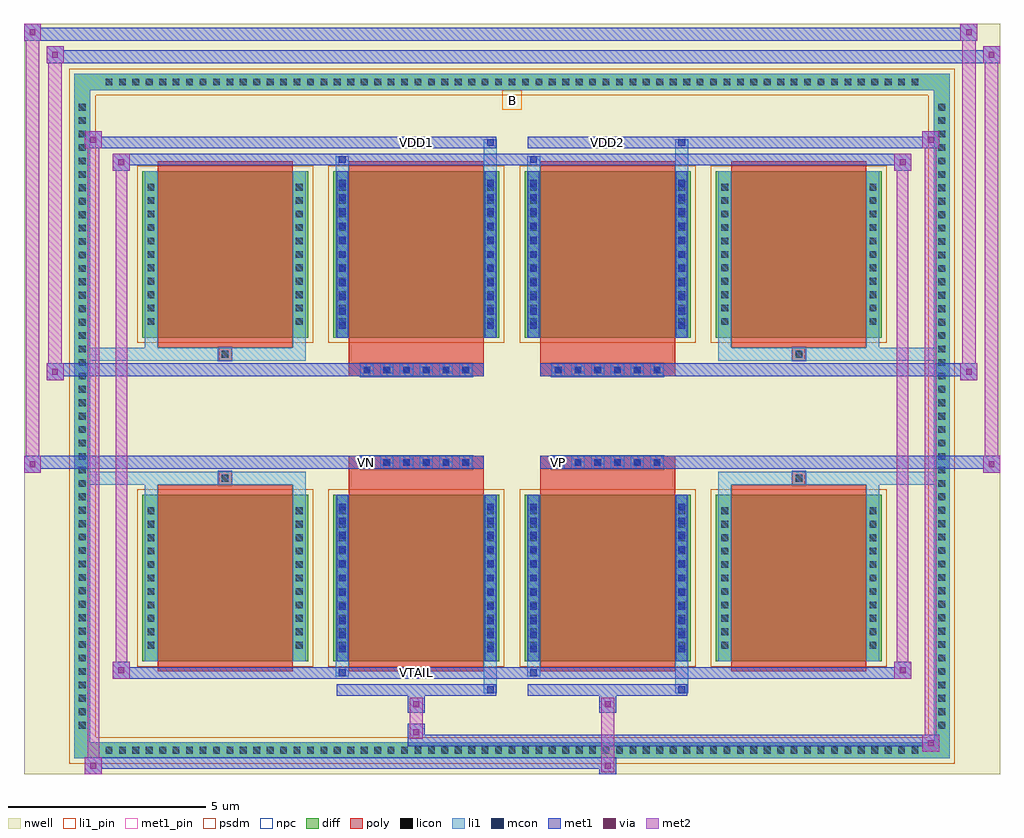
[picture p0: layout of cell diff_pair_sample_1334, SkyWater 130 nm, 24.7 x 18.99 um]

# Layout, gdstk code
import gdstk
lib = gdstk.Library(unit=1e-6, precision=5e-09)
def R(c, l, rs):  # rectangles x0, y0, x1, y1
    for r in rs: c.add(gdstk.rectangle(r[:2], r[2:], *l))
def A(c, l, x, y, w, h, nx, ny, dx, dy):  # array of equal rectangles
    R(c, l, [(x+i*dx, y+j*dy, x+i*dx+w, y+j*dy+h) for i in range(nx) for j in range(ny)])
def P(c, l, *ps):  # polygons
    for p in ps: c.add(gdstk.Polygon(p, *l))
nwell = (64, 20)
diff = (65, 20)
poly = (66, 20)
licon = (66, 44)
li1_pin = (67, 16)
li1 = (67, 20)
mcon = (67, 44)
met1_pin = (68, 16)
met1 = (68, 20)
via = (68, 44)
met2 = (69, 20)
psdm = (94, 20)
npc = (95, 20)

diff_pair_sample_1334 = lib.new_cell('diff_pair_sample_1334')
R(diff_pair_sample_1334, nwell, [(-12.35,-9.06,12.35,9.93), (-9.67,-7.25,-0.01,-0.805), (0.01,-7.25,9.67,-0.805), (-9.67,0.805,-0.01,7.25), (0.01,0.805,9.67,7.25)])
A(diff_pair_sample_1334, diff, -10.405, -8.66, 0.41, 0.41, 61, 2, 0.34, 16.91)
A(diff_pair_sample_1334, diff, -11.08, -8.025, 0.41, 0.41, 1, 47, 0, 0.34)
A(diff_pair_sample_1334, diff, 10.67, -8.025, 0.41, 0.41, 1, 47, 0, 0.34)
A(diff_pair_sample_1334, diff, -9.36, -6.205, 4.2, 4.22, 4, 2, 4.84, 8.19)
R(diff_pair_sample_1334, diff, [(-10.405,-8.66,10.405,-8.25), (-11.08,-8.025,-10.67,8.025), (10.67,-8.025,11.08,8.025), (-10.405,8.25,10.405,8.66)])
P(diff_pair_sample_1334, diff, [(11.08,8.66),(-11.08,8.66),(-11.08,-8.25),(-10.67,-8.25),(-10.67,8.25),(10.67,8.25),(10.67,-8.25),(-10.67,-8.25),(-11.08,-8.25),(-11.08,-8.66),(11.08,-8.66)])
A(diff_pair_sample_1334, poly, -8.97, -6.455, 3.42, 4.72, 4, 2, 4.84, 8.19)
A(diff_pair_sample_1334, poly, -3.835, -1.335, 0.33, 0.33, 6, 2, 0.5, 2.34)
A(diff_pair_sample_1334, poly, 1.005, -1.335, 0.33, 0.33, 6, 2, 0.5, 2.34)
R(diff_pair_sample_1334, poly, [(-7.425,-1.735,-7.095,-1.405), (-7.425,-1.735,-7.095,-1.405), (-4.13,-1.735,-0.71,-1.335), (0.71,-1.735,4.13,-1.335), (7.095,-1.735,7.425,-1.405), (7.095,-1.735,7.425,-1.405), (-4.13,-1.335,-0.71,-1.005), (0.71,-1.335,4.13,-1.005), (-4.13,1.005,-0.71,1.335), (0.71,1.005,4.13,1.335), (-4.13,1.335,-0.71,1.735), (0.71,1.335,4.13,1.735), (-7.425,1.405,-7.095,1.735), (-7.425,1.405,-7.095,1.735), (7.095,1.405,7.425,1.735), (7.095,1.405,7.425,1.735)])
A(diff_pair_sample_1334, licon, -10.285, -8.54, 0.17, 0.17, 61, 2, 0.34, 16.91)
A(diff_pair_sample_1334, licon, -10.96, -7.905, 0.17, 0.17, 1, 47, 0, 0.34)
A(diff_pair_sample_1334, licon, 10.79, -7.905, 0.17, 0.17, 1, 47, 0, 0.34)
A(diff_pair_sample_1334, licon, -9.22, -5.88, 0.17, 0.17, 1, 11, 0, 0.34)
A(diff_pair_sample_1334, licon, -5.47, -5.88, 0.17, 0.17, 1, 11, 0, 0.34)
A(diff_pair_sample_1334, licon, -4.38, -5.88, 0.17, 0.17, 1, 11, 0, 0.34)
A(diff_pair_sample_1334, licon, -0.63, -5.88, 0.17, 0.17, 1, 11, 0, 0.34)
A(diff_pair_sample_1334, licon, 0.46, -5.88, 0.17, 0.17, 1, 11, 0, 0.34)
A(diff_pair_sample_1334, licon, 4.21, -5.88, 0.17, 0.17, 1, 11, 0, 0.34)
A(diff_pair_sample_1334, licon, 5.3, -5.88, 0.17, 0.17, 1, 11, 0, 0.34)
A(diff_pair_sample_1334, licon, 9.05, -5.88, 0.17, 0.17, 1, 11, 0, 0.34)
A(diff_pair_sample_1334, licon, -3.755, -1.255, 0.17, 0.17, 6, 2, 0.5, 2.34)
A(diff_pair_sample_1334, licon, 1.085, -1.255, 0.17, 0.17, 6, 2, 0.5, 2.34)
A(diff_pair_sample_1334, licon, -9.22, 2.31, 0.17, 0.17, 1, 11, 0, 0.34)
A(diff_pair_sample_1334, licon, -5.47, 2.31, 0.17, 0.17, 1, 11, 0, 0.34)
A(diff_pair_sample_1334, licon, -4.38, 2.31, 0.17, 0.17, 1, 11, 0, 0.34)
A(diff_pair_sample_1334, licon, -0.63, 2.31, 0.17, 0.17, 1, 11, 0, 0.34)
A(diff_pair_sample_1334, licon, 0.46, 2.31, 0.17, 0.17, 1, 11, 0, 0.34)
A(diff_pair_sample_1334, licon, 4.21, 2.31, 0.17, 0.17, 1, 11, 0, 0.34)
A(diff_pair_sample_1334, licon, 5.3, 2.31, 0.17, 0.17, 1, 11, 0, 0.34)
A(diff_pair_sample_1334, licon, 9.05, 2.31, 0.17, 0.17, 1, 11, 0, 0.34)
R(diff_pair_sample_1334, licon, [(-7.345,-1.655,-7.175,-1.485), (7.175,-1.655,7.345,-1.485), (-7.345,1.485,-7.175,1.655), (7.175,1.485,7.345,1.655)])
R(diff_pair_sample_1334, li1_pin, [(-0.25,7.75,0.25,8.25)])
A(diff_pair_sample_1334, li1, -10.365, -8.62, 0.33, 0.33, 61, 2, 0.34, 16.91)
A(diff_pair_sample_1334, li1, -11.04, -7.985, 0.33, 0.33, 1, 47, 0, 0.34)
A(diff_pair_sample_1334, li1, 10.71, -7.985, 0.33, 0.33, 1, 47, 0, 0.34)
A(diff_pair_sample_1334, li1, -4.38, -5.98, 0.17, 0.17, 1, 11, 0, 0.36)
A(diff_pair_sample_1334, li1, -0.63, -5.98, 0.17, 0.17, 1, 11, 0, 0.36)
A(diff_pair_sample_1334, li1, 0.46, -5.98, 0.17, 0.17, 1, 11, 0, 0.36)
A(diff_pair_sample_1334, li1, 4.21, -5.98, 0.17, 0.17, 1, 11, 0, 0.36)
A(diff_pair_sample_1334, li1, -9.3, -5.96, 0.33, 0.33, 1, 11, 0, 0.34)
A(diff_pair_sample_1334, li1, -5.55, -5.96, 0.33, 0.33, 1, 11, 0, 0.34)
A(diff_pair_sample_1334, li1, -4.46, -5.96, 0.33, 0.33, 1, 11, 0, 0.34)
A(diff_pair_sample_1334, li1, -0.71, -5.96, 0.33, 0.33, 1, 11, 0, 0.34)
A(diff_pair_sample_1334, li1, 0.38, -5.96, 0.33, 0.33, 1, 11, 0, 0.34)
A(diff_pair_sample_1334, li1, 4.13, -5.96, 0.33, 0.33, 1, 11, 0, 0.34)
A(diff_pair_sample_1334, li1, 5.22, -5.96, 0.33, 0.33, 1, 11, 0, 0.34)
A(diff_pair_sample_1334, li1, 8.97, -5.96, 0.33, 0.33, 1, 11, 0, 0.34)
A(diff_pair_sample_1334, li1, -3.835, -1.335, 0.33, 0.33, 6, 2, 0.5, 2.34)
A(diff_pair_sample_1334, li1, 1.005, -1.335, 0.33, 0.33, 6, 2, 0.5, 2.34)
A(diff_pair_sample_1334, li1, -4.38, 2.21, 0.17, 0.17, 1, 11, 0, 0.36)
A(diff_pair_sample_1334, li1, -0.63, 2.21, 0.17, 0.17, 1, 11, 0, 0.36)
A(diff_pair_sample_1334, li1, 0.46, 2.21, 0.17, 0.17, 1, 11, 0, 0.36)
A(diff_pair_sample_1334, li1, 4.21, 2.21, 0.17, 0.17, 1, 11, 0, 0.36)
A(diff_pair_sample_1334, li1, -9.3, 2.23, 0.33, 0.33, 1, 11, 0, 0.34)
A(diff_pair_sample_1334, li1, -5.55, 2.23, 0.33, 0.33, 1, 11, 0, 0.34)
A(diff_pair_sample_1334, li1, -4.46, 2.23, 0.33, 0.33, 1, 11, 0, 0.34)
A(diff_pair_sample_1334, li1, -0.71, 2.23, 0.33, 0.33, 1, 11, 0, 0.34)
A(diff_pair_sample_1334, li1, 0.38, 2.23, 0.33, 0.33, 1, 11, 0, 0.34)
A(diff_pair_sample_1334, li1, 4.13, 2.23, 0.33, 0.33, 1, 11, 0, 0.34)
A(diff_pair_sample_1334, li1, 5.22, 2.23, 0.33, 0.33, 1, 11, 0, 0.34)
A(diff_pair_sample_1334, li1, 8.97, 2.23, 0.33, 0.33, 1, 11, 0, 0.34)
R(diff_pair_sample_1334, li1, [(-11.08,-8.66,-10.67,-8.25), (-11.08,-8.66,-10.67,-8.25), (-10.67,-8.66,10.67,-8.25), (10.67,-8.66,11.08,-8.25), (10.67,-8.66,11.08,-8.25), (-11.08,-8.25,-10.67,8.25), (10.67,-8.25,11.08,8.25), (-0.71,-7.01,-0.38,-6.205), (-0.63,-7.01,-0.46,-6.84), (4.13,-7.01,4.46,-6.205), (4.21,-7.01,4.38,-6.84), (-4.46,-6.58,-4.13,-6.205), (-4.38,-6.58,-4.21,-6.41), (0.38,-6.58,0.71,-6.205), (0.46,-6.58,0.63,-6.41), (-9.3,-6.205,-8.97,-1.985), (-5.55,-6.205,-5.22,-1.985), (-4.46,-6.205,-4.13,-1.985), (-0.71,-6.205,-0.38,-1.985), (0.38,-6.205,0.71,-1.985), (4.13,-6.205,4.46,-1.985), (5.22,-6.205,5.55,-1.985), (8.97,-6.205,9.3,-1.985), (-4.38,-5.98,-4.21,-2.21), (-0.63,-5.98,-0.46,-2.21), (0.46,-5.98,0.63,-2.21), (4.21,-5.98,4.38,-2.21), (-9.3,-1.985,-8.97,-1.405), (-5.55,-1.985,-5.22,-1.405), (5.22,-1.985,5.55,-1.405), (8.97,-1.985,9.3,-1.405), (-11.08,-1.735,-7.425,-1.405), (-9.3,-1.735,-7.425,-1.405), (-7.425,-1.735,-7.095,-1.405), (-7.095,-1.735,-5.22,-1.405), (5.22,-1.735,7.095,-1.405), (7.095,-1.735,7.425,-1.405), (7.095,-1.735,11.08,-1.405), (7.425,-1.735,9.3,-1.405), (-11.08,1.405,-7.425,1.735), (-9.3,1.405,-7.425,1.735), (-9.3,1.405,-8.97,1.985), (-7.425,1.405,-7.095,1.735), (-7.095,1.405,-5.22,1.735), (-5.55,1.405,-5.22,1.985), (5.22,1.405,7.095,1.735), (5.22,1.405,5.55,1.985), (7.095,1.405,7.425,1.735), (7.095,1.405,11.08,1.735), (7.425,1.405,9.3,1.735), (8.97,1.405,9.3,1.985), (-9.3,1.985,-8.97,6.205), (-5.55,1.985,-5.22,6.205), (-4.46,1.985,-4.13,6.205), (-0.71,1.985,-0.38,6.205), (0.38,1.985,0.71,6.205), (4.13,1.985,4.46,6.205), (5.22,1.985,5.55,6.205), (8.97,1.985,9.3,6.205), (-4.38,2.21,-4.21,5.98), (-0.63,2.21,-0.46,5.98), (0.46,2.21,0.63,5.98), (4.21,2.21,4.38,5.98), (-4.46,6.205,-4.13,6.58), (-0.71,6.205,-0.38,7.01), (0.38,6.205,0.71,6.58), (4.13,6.205,4.46,7.01), (-4.38,6.41,-4.21,6.58), (0.46,6.41,0.63,6.58), (-0.63,6.84,-0.46,7.01), (4.21,6.84,4.38,7.01), (-11.08,8.25,-10.67,8.66), (-11.08,8.25,-10.67,8.66), (-10.67,8.25,10.67,8.66), (10.67,8.25,11.08,8.66), (10.67,8.25,11.08,8.66)])
A(diff_pair_sample_1334, mcon, -4.38, -5.98, 0.17, 0.17, 1, 11, 0, 0.36)
A(diff_pair_sample_1334, mcon, -0.63, -5.98, 0.17, 0.17, 1, 11, 0, 0.36)
A(diff_pair_sample_1334, mcon, 0.46, -5.98, 0.17, 0.17, 1, 11, 0, 0.36)
A(diff_pair_sample_1334, mcon, 4.21, -5.98, 0.17, 0.17, 1, 11, 0, 0.36)
A(diff_pair_sample_1334, mcon, -3.755, -1.255, 0.17, 0.17, 6, 2, 0.5, 2.34)
A(diff_pair_sample_1334, mcon, 1.085, -1.255, 0.17, 0.17, 6, 2, 0.5, 2.34)
A(diff_pair_sample_1334, mcon, -4.38, 2.21, 0.17, 0.17, 1, 11, 0, 0.36)
A(diff_pair_sample_1334, mcon, -0.63, 2.21, 0.17, 0.17, 1, 11, 0, 0.36)
A(diff_pair_sample_1334, mcon, 0.46, 2.21, 0.17, 0.17, 1, 11, 0, 0.36)
A(diff_pair_sample_1334, mcon, 4.21, 2.21, 0.17, 0.17, 1, 11, 0, 0.36)
R(diff_pair_sample_1334, mcon, [(-0.63,-7.01,-0.46,-6.84), (4.21,-7.01,4.38,-6.84), (-4.38,-6.58,-4.21,-6.41), (0.46,-6.58,0.63,-6.41), (-4.38,6.41,-4.21,6.58), (0.46,6.41,0.63,6.58), (-0.63,6.84,-0.46,7.01), (4.21,6.84,4.38,7.01)])
R(diff_pair_sample_1334, met1_pin, [(-2.555,-6.62,-2.285,-6.35), (-3.805,-1.295,-3.535,-1.025), (1.035,-1.295,1.305,-1.025), (-2.555,6.8,-2.285,7.07), (2.285,6.8,2.555,7.07)])
A(diff_pair_sample_1334, met1, -4.44, -6.04, 0.29, 0.29, 1, 11, 0, 0.36)
A(diff_pair_sample_1334, met1, -0.69, -6.04, 0.29, 0.29, 1, 11, 0, 0.36)
A(diff_pair_sample_1334, met1, 0.4, -6.04, 0.29, 0.29, 1, 11, 0, 0.36)
A(diff_pair_sample_1334, met1, 4.15, -6.04, 0.29, 0.29, 1, 11, 0, 0.36)
A(diff_pair_sample_1334, met1, -3.815, -1.315, 0.29, 0.29, 6, 2, 0.5, 2.34)
A(diff_pair_sample_1334, met1, 1.025, -1.315, 0.29, 0.29, 6, 2, 0.5, 2.34)
A(diff_pair_sample_1334, met1, -4.44, 2.15, 0.29, 0.29, 1, 11, 0, 0.36)
A(diff_pair_sample_1334, met1, -0.69, 2.15, 0.29, 0.29, 1, 11, 0, 0.36)
A(diff_pair_sample_1334, met1, 0.4, 2.15, 0.29, 0.29, 1, 11, 0, 0.36)
A(diff_pair_sample_1334, met1, 4.15, 2.15, 0.29, 0.29, 1, 11, 0, 0.36)
R(diff_pair_sample_1334, met1, [(-10.81,-9.06,-10.38,-8.63), (2.205,-9.06,2.635,-8.63), (-10.81,-8.92,2.635,-8.63), (10.38,-8.49,10.81,-8.06), (-2.635,-8.35,10.81,-8.06), (-2.635,-8.21,-2.205,-7.78), (-2.635,-7.5,-2.205,-7.07), (2.205,-7.5,2.635,-7.07), (-4.44,-7.07,-0.4,-6.78), (-0.69,-7.07,-0.4,-6.78), (0.4,-7.07,4.44,-6.78), (4.15,-7.07,4.44,-6.78), (-10.1,-6.64,-9.67,-6.21), (-10.1,-6.64,-4.44,-6.35), (-4.44,-6.64,-4.15,-6.35), (-4.44,-6.64,-0.4,-6.35), (-0.4,-6.64,0.4,-6.35), (0.4,-6.64,0.69,-6.35), (0.4,-6.64,4.44,-6.35), (4.44,-6.64,10.1,-6.35), (9.67,-6.64,10.1,-6.21), (-4.44,-6.205,-4.15,-1.985), (-0.69,-6.205,-0.4,-1.985), (0.4,-6.205,0.69,-1.985), (4.15,-6.205,4.44,-1.985), (-12.35,-1.435,-11.92,-1.005), (11.92,-1.435,12.35,-1.005), (-12.35,-1.335,-0.71,-1.005), (-4.13,-1.335,-0.71,-1.005), (0.71,-1.335,4.13,-1.005), (0.71,-1.335,12.35,-1.005), (-11.78,0.905,-11.35,1.335), (11.35,0.905,11.78,1.335), (-11.78,1.005,-4.13,1.335), (-4.13,1.005,-0.71,1.335), (0.71,1.005,4.13,1.335), (4.13,1.005,11.78,1.335), (-4.44,1.985,-4.15,6.205), (-0.69,1.985,-0.4,6.205), (0.4,1.985,0.69,6.205), (4.15,1.985,4.44,6.205), (-10.1,6.21,-9.67,6.64), (9.67,6.21,10.1,6.64), (-10.1,6.35,-4.44,6.64), (-4.44,6.35,-4.15,6.64), (-4.44,6.35,-0.4,6.64), (-0.4,6.35,0.4,6.64), (0.4,6.35,0.69,6.64), (0.4,6.35,4.44,6.64), (4.44,6.35,10.1,6.64), (-10.81,6.78,-10.38,7.21), (-10.81,6.78,-4.44,7.07), (-4.44,6.78,-0.4,7.07), (-0.69,6.78,-0.4,7.07), (0.4,6.78,4.44,7.07), (4.15,6.78,4.44,7.07), (4.44,6.78,10.81,7.07), (10.38,6.78,10.81,7.21), (-11.78,8.93,-11.35,9.36), (-11.78,8.93,-9.67,9.26), (-9.67,8.93,9.67,9.26), (9.67,8.93,12.35,9.26), (11.92,8.93,12.35,9.36), (-12.35,9.5,-11.92,9.93), (-12.35,9.5,-9.67,9.83), (-9.67,9.5,9.67,9.83), (9.67,9.5,11.78,9.83), (11.35,9.5,11.78,9.93)])
R(diff_pair_sample_1334, via, [(-10.67,-8.92,-10.52,-8.77), (2.345,-8.92,2.495,-8.77), (10.52,-8.35,10.67,-8.2), (-2.495,-8.07,-2.345,-7.92), (-2.495,-7.36,-2.345,-7.21), (2.345,-7.36,2.495,-7.21), (-9.96,-6.5,-9.81,-6.35), (9.81,-6.5,9.96,-6.35), (-12.21,-1.295,-12.06,-1.145), (12.06,-1.295,12.21,-1.145), (-11.64,1.045,-11.49,1.195), (11.49,1.045,11.64,1.195), (-9.96,6.35,-9.81,6.5), (9.81,6.35,9.96,6.5), (-10.67,6.92,-10.52,7.07), (10.52,6.92,10.67,7.07), (-11.64,9.07,-11.49,9.22), (12.06,9.07,12.21,9.22), (-12.21,9.64,-12.06,9.79), (11.49,9.64,11.64,9.79)])
R(diff_pair_sample_1334, met2, [(-10.81,-9.06,-10.38,-8.63), (-10.74,-9.06,-10.45,7.21), (-10.45,-9.06,-10.38,-8.63), (-10.76,-9.01,-10.43,-8.68), (2.255,-9.01,2.585,-8.68), (2.255,-8.68,2.585,-7.45), (10.38,-8.49,10.81,-8.06), (10.45,-8.49,10.74,7.21), (10.74,-8.49,10.81,-8.06), (10.43,-8.44,10.76,-8.11), (-2.585,-8.16,-2.255,-7.83), (-2.585,-7.83,-2.255,-7.45), (-2.585,-7.45,-2.255,-7.12), (2.255,-7.45,2.585,-7.12), (-10.1,-6.64,-9.67,-6.21), (-10.03,-6.64,-9.74,6.64), (-9.74,-6.64,-9.67,-6.21), (9.67,-6.64,10.1,-6.21), (9.74,-6.64,10.03,6.64), (10.03,-6.64,10.1,-6.21), (-10.05,-6.59,-9.72,-6.26), (9.72,-6.59,10.05,-6.26), (-12.35,-1.435,-11.92,-1.005), (-12.3,-1.435,-11.97,9.93), (-11.97,-1.435,-11.92,-1.005), (11.92,-1.435,12.35,-1.005), (11.97,-1.435,12.3,9.36), (12.3,-1.435,12.35,-1.005), (-12.3,-1.385,-11.97,-1.055), (11.97,-1.385,12.3,-1.055), (-11.78,0.905,-11.35,1.335), (-11.73,0.905,-11.4,9.36), (-11.4,0.905,-11.35,1.335), (11.35,0.905,11.78,1.335), (11.4,0.905,11.73,9.93), (11.73,0.905,11.78,1.335), (-11.73,0.955,-11.4,1.285), (11.4,0.955,11.73,1.285), (-10.1,6.21,-9.67,6.64), (-9.74,6.21,-9.67,6.64), (9.67,6.21,10.1,6.64), (10.03,6.21,10.1,6.64), (-10.05,6.26,-9.72,6.59), (9.72,6.26,10.05,6.59), (-10.81,6.78,-10.38,7.21), (-10.45,6.78,-10.38,7.21), (10.38,6.78,10.81,7.21), (10.74,6.78,10.81,7.21), (-10.76,6.83,-10.43,7.16), (10.43,6.83,10.76,7.16), (-11.78,8.93,-11.35,9.36), (-11.4,8.93,-11.35,9.36), (11.92,8.93,12.35,9.36), (12.3,8.93,12.35,9.36), (-11.73,8.98,-11.4,9.31), (11.97,8.98,12.3,9.31), (-12.35,9.5,-11.92,9.93), (-11.97,9.5,-11.92,9.93), (11.35,9.5,11.78,9.93), (11.73,9.5,11.78,9.93), (-12.3,9.55,-11.97,9.88), (11.4,9.55,11.73,9.88)])
A(diff_pair_sample_1334, psdm, -9.49, -6.335, 4.46, 4.48, 4, 2, 4.84, 8.19)
P(diff_pair_sample_1334, psdm, [(11.21,8.79),(-11.21,8.79),(-11.21,-8.12),(-10.54,-8.12),(-10.54,8.12),(10.54,8.12),(10.54,-8.12),(-10.54,-8.12),(-11.21,-8.12),(-11.21,-8.79),(11.21,-8.79)])
A(diff_pair_sample_1334, npc, -3.855, -1.355, 0.37, 0.37, 6, 2, 0.5, 2.34)
A(diff_pair_sample_1334, npc, 0.985, -1.355, 0.37, 0.37, 6, 2, 0.5, 2.34)
R(diff_pair_sample_1334, npc, [(-7.445,-1.755,-7.075,-1.385), (7.075,-1.755,7.445,-1.385), (-3.855,-1.355,-2.985,-0.985), (-3.855,-1.355,-2.985,-0.985), (-3.355,-1.355,-2.485,-0.985), (-3.355,-1.355,-2.485,-0.985), (-2.855,-1.355,-1.985,-0.985), (-2.855,-1.355,-1.985,-0.985), (-2.355,-1.355,-1.485,-0.985), (-2.355,-1.355,-1.485,-0.985), (-1.855,-1.355,-0.985,-0.985), (-1.855,-1.355,-0.985,-0.985), (0.985,-1.355,1.855,-0.985), (0.985,-1.355,1.855,-0.985), (1.485,-1.355,2.355,-0.985), (1.485,-1.355,2.355,-0.985), (1.985,-1.355,2.855,-0.985), (1.985,-1.355,2.855,-0.985), (2.485,-1.355,3.355,-0.985), (2.485,-1.355,3.355,-0.985), (2.985,-1.355,3.855,-0.985), (2.985,-1.355,3.855,-0.985), (-3.855,0.985,-2.985,1.355), (-3.855,0.985,-2.985,1.355), (-3.355,0.985,-2.485,1.355), (-3.355,0.985,-2.485,1.355), (-2.855,0.985,-1.985,1.355), (-2.855,0.985,-1.985,1.355), (-2.355,0.985,-1.485,1.355), (-2.355,0.985,-1.485,1.355), (-1.855,0.985,-0.985,1.355), (-1.855,0.985,-0.985,1.355), (0.985,0.985,1.855,1.355), (0.985,0.985,1.855,1.355), (1.485,0.985,2.355,1.355), (1.485,0.985,2.355,1.355), (1.985,0.985,2.855,1.355), (1.985,0.985,2.855,1.355), (2.485,0.985,3.355,1.355), (2.485,0.985,3.355,1.355), (2.985,0.985,3.855,1.355), (2.985,0.985,3.855,1.355), (-7.445,1.385,-7.075,1.755), (7.075,1.385,7.445,1.755)])
diff_pair_sample_1334.add(gdstk.Label('VTAIL', (-2.42,-6.485), layer=68, texttype=5))
diff_pair_sample_1334.add(gdstk.Label('VN', (-3.67,-1.16), layer=68, texttype=5))
diff_pair_sample_1334.add(gdstk.Label('VP', (1.17,-1.16), layer=68, texttype=5))
diff_pair_sample_1334.add(gdstk.Label('B', (0,8), layer=67, texttype=5))
diff_pair_sample_1334.add(gdstk.Label('VDD2', (2.42,6.935), layer=68, texttype=5))
diff_pair_sample_1334.add(gdstk.Label('VDD1', (-2.42,6.935), layer=68, texttype=5))

lib.write_gds('diff_pair_sample_1334.gds')
